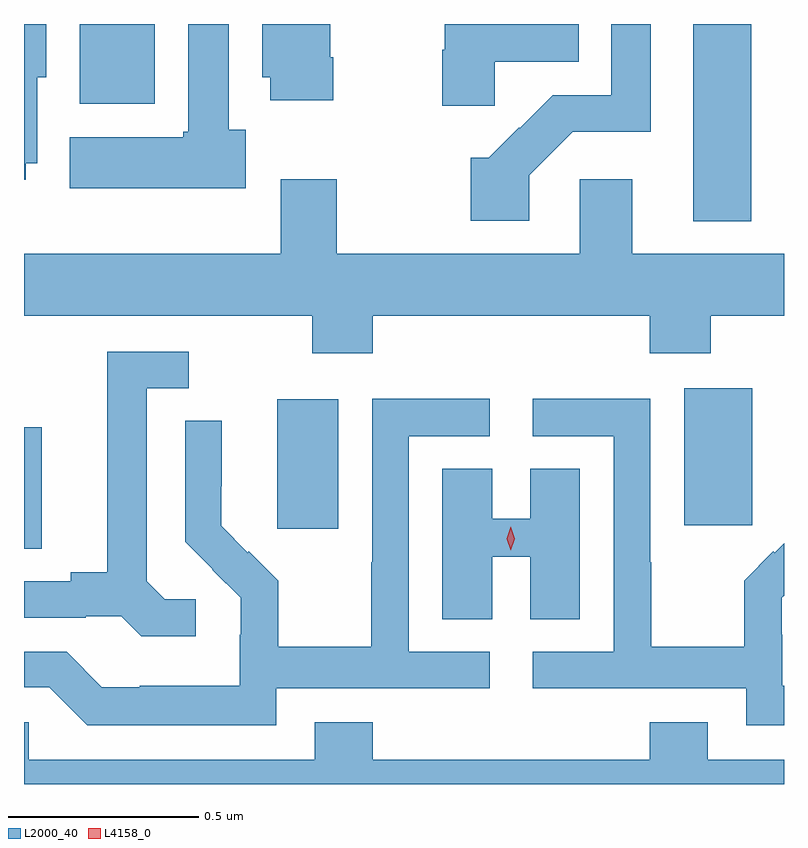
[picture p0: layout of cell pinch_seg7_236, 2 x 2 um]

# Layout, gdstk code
import gdstk
lib = gdstk.Library(unit=1e-6, precision=1e-09)
def R(c, l, rs):  # rectangles x0, y0, x1, y1
    for r in rs: c.add(gdstk.rectangle(r[:2], r[2:], *l))
def P(c, l, *ps):  # polygons
    for p in ps: c.add(gdstk.Polygon(p, *l))
L2000_40 = (2000, 40)
L4158_0 = (4158, 0)

pinch_seg7_236 = lib.new_cell('pinch_seg7_236')
R(pinch_seg7_236, L2000_40, [(706.154,1034.635,706.201,1034.955), (706.82,1034.688,706.981,1035.028), (707.891,1034.697,708.07,1035.058), (707.915,1035.497,708.068,1036.016), (706.301,1035.806,706.498,1036.016)])
P(pinch_seg7_236, L2000_40, [(707.393,1035.917),(707.614,1035.917),(707.614,1036.016),(707.261,1036.016),(707.261,1035.948),(707.254,1035.948),(707.254,1035.801),(707.393,1035.801)],
  [(706.968,1035.928),(706.96,1035.928),(706.96,1036.016),(706.781,1036.016),(706.781,1035.876),(706.802,1035.876),(706.802,1035.816),(706.968,1035.816)],
  [(707.484,1035.618),(707.598,1035.732),(707.803,1035.732),(707.803,1036.016),(707.699,1036.016),(707.699,1035.829),(707.545,1035.829),(707.459,1035.742),(707.457,1035.744),(707.377,1035.664),(707.329,1035.664),(707.329,1035.498),(707.484,1035.498)],
  [(706.159,1035.65),(706.189,1035.65),(706.189,1035.876),(706.213,1035.876),(706.213,1036.016),(706.154,1036.016),(706.154,1035.606),(706.159,1035.606)],
  [(706.738,1035.738),(706.693,1035.738),(706.693,1036.016),(706.586,1036.016),(706.586,1035.732),(706.573,1035.732),(706.573,1035.718),(706.274,1035.718),(706.274,1035.584),(706.738,1035.584)],
  [(707.072,1035.248),(707.801,1035.248),(707.801,1035.149),(707.961,1035.149),(707.961,1035.248),(708.154,1035.248),(708.154,1035.412),(707.755,1035.412),(707.755,1035.607),(707.616,1035.607),(707.616,1035.412),(706.977,1035.412),(706.977,1035.607),(706.829,1035.607),(706.829,1035.412),(706.154,1035.412),(706.154,1035.248),(706.912,1035.248),(706.912,1035.149),(707.072,1035.149)],
  [(706.606,1034.502),(706.524,1034.502),(706.477,1034.549),(706.477,1035.057),(706.588,1035.057),(706.588,1035.153),(706.373,1035.153),(706.373,1034.573),(706.277,1034.573),(706.277,1034.55),(706.154,1034.55),(706.154,1034.454),(706.316,1034.454),(706.316,1034.457),(706.41,1034.457),(706.462,1034.405),(706.606,1034.405)],
  [(706.818,1034.268),(707.38,1034.268),(707.38,1034.364),(707.166,1034.364),(707.166,1034.931),(707.38,1034.931),(707.38,1035.03),(707.07,1035.03),(707.07,1034.6),(707.068,1034.6),(707.068,1034.377),(706.823,1034.377),(706.823,1034.551),(706.746,1034.628),(706.743,1034.625),(706.673,1034.696),(706.673,1034.8),(706.675,1034.8),(706.675,1034.972),(706.578,1034.972),(706.578,1034.654),(706.651,1034.581),(706.65,1034.58),(706.724,1034.506),(706.724,1034.409),(706.722,1034.409),(706.722,1034.275),(706.459,1034.275),(706.459,1034.271),(706.359,1034.271),(706.266,1034.364),(706.154,1034.364),(706.154,1034.271),(706.221,1034.271),(706.321,1034.171),(706.818,1034.171)],
  [(708.154,1034.275),(708.15,1034.275),(708.15,1034.409),(708.148,1034.409),(708.148,1034.506),(708.154,1034.512),(708.154,1034.65),(708.129,1034.625),(708.126,1034.628),(708.049,1034.551),(708.049,1034.377),(707.805,1034.377),(707.805,1034.6),(707.802,1034.6),(707.802,1035.03),(707.493,1035.03),(707.493,1034.931),(707.706,1034.931),(707.706,1034.364),(707.493,1034.364),(707.493,1034.268),(708.054,1034.268),(708.054,1034.171),(708.154,1034.171)],
  [(707.386,1034.614),(707.486,1034.614),(707.486,1034.449),(707.617,1034.449),(707.617,1034.846),(707.486,1034.846),(707.486,1034.714),(707.386,1034.714),(707.386,1034.846),(707.255,1034.846),(707.255,1034.449),(707.386,1034.449)],
  [(708.154,1034.08),(707.953,1034.08),(707.953,1034.179),(707.801,1034.179),(707.801,1034.08),(707.072,1034.08),(707.072,1034.179),(706.919,1034.179),(706.919,1034.08),(706.167,1034.08),(706.167,1034.178),(706.154,1034.178),(706.154,1034.016),(708.154,1034.016)])
P(pinch_seg7_236, L4158_0, [(707.435,1034.631),(707.435,1034.631),(707.425,1034.662),(707.435,1034.693),(707.435,1034.693),(707.435,1034.693),(707.445,1034.662),(707.435,1034.631)])

lib.write_gds('pinch_seg7_236.gds')
